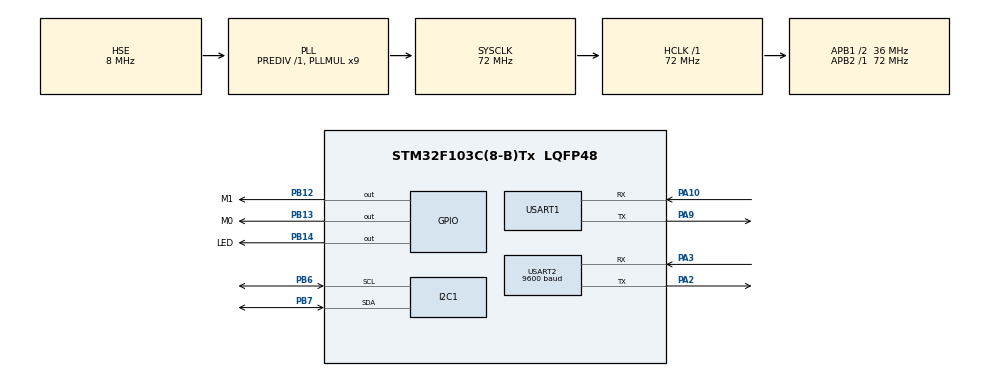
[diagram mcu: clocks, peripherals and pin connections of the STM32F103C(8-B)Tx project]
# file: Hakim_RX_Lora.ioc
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I2C1.I2C_Mode=I2C_Fast
Mcu.Family=STM32F1
Mcu.Name=STM32F103C(8-B)Tx
Mcu.Package=LQFP48
NVIC.PriorityGroup=NVIC_PRIORITYGROUP_4
NVIC.USART2_IRQn=true\:0\:0\:false\:false\:true\:true\:true\:true
PA10.Mode=Asynchronous
PA10.Signal=USART1_RX
PA13.Mode=Serial_Wire
PA13.Signal=SYS_JTMS-SWDIO
PA14.Mode=Serial_Wire
PA14.Signal=SYS_JTCK-SWCLK
PA2.Mode=Asynchronous
PA2.Signal=USART2_TX
PA3.Mode=Asynchronous
PA3.Signal=USART2_RX
PA9.Mode=Asynchronous
PA9.Signal=USART1_TX
PB12.GPIO_Label=M1
PB12.Signal=GPIO_Output
PB13.GPIO_Label=M0
PB13.Signal=GPIO_Output
PB14.GPIO_Label=LED
PB14.Signal=GPIO_Output
PB6.Mode=I2C
PB6.Signal=I2C1_SCL
PB7.Mode=I2C
PB7.Signal=I2C1_SDA
PD0-OSC_IN.Mode=HSE-External-Oscillator
PD0-OSC_IN.Signal=RCC_OSC_IN
PD1-OSC_OUT.Mode=HSE-External-Oscillator
PD1-OSC_OUT.Signal=RCC_OSC_OUT
ProjectManager.HeapSize=0x200
ProjectManager.StackSize=0x400
ProjectManager.TargetToolchain=STM32CubeIDE
RCC.AHBFreq_Value=72000000
RCC.APB1CLKDivider=RCC_HCLK_DIV2
RCC.APB1Freq_Value=36000000
RCC.APB1TimFreq_Value=72000000
RCC.APB2Freq_Value=72000000
RCC.APB2TimFreq_Value=72000000
RCC.HCLKFreq_Value=72000000
RCC.PLLMUL=RCC_PLL_MUL9
RCC.PLLSourceVirtual=RCC_PLLSOURCE_HSE
RCC.SYSCLKFreq_VALUE=72000000
RCC.SYSCLKSource=RCC_SYSCLKSOURCE_PLLCLK
RCC.USBFreq_Value=72000000
USART1.VirtualMode=VM_ASYNC
USART2.BaudRate=9600
USART2.VirtualMode=VM_ASYNC
board=custom

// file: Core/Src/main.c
/* USER CODE BEGIN Header */
/**
  ******************************************************************************
  * @file           : main.c
  * @brief          : Main program body
  ******************************************************************************
  * @attention
  *
  * Copyright (c) 2024 STMicroelectronics.
  * All rights reserved.
  *
  * This software is licensed under terms that can be found in the LICENSE file
  * in the root directory of this software component.
  * If no LICENSE file comes with this software, it is provided AS-IS.
  *
  ******************************************************************************
  */
/* USER CODE END Header */
#include "main.h"

/* USER CODE BEGIN Includes */
#include "fonts.h"
#include "ssd1306.h"
#include "test.h"
#include "string.h"
#include "stdbool.h"
/* USER CODE END Includes */

I2C_HandleTypeDef hi2c1;

UART_HandleTypeDef huart1;
UART_HandleTypeDef huart2;

void SystemClock_Config(void);
static void MX_GPIO_Init(void);
static void MX_I2C1_Init(void);
static void MX_USART1_UART_Init(void);
static void MX_USART2_UART_Init(void);

/* USER CODE BEGIN 0 */
char buffer_rx[100];
uint8_t rx;
volatile uint8_t   adc = 0;
bool flag= false;
uint8_t i= 0;
void Lora_Init(void){
	HAL_Delay(500);
	HAL_GPIO_WritePin(M0_GPIO_Port, M0_Pin,1);
	HAL_GPIO_WritePin(M1_GPIO_Port, M1_Pin,1);
	HAL_GPIO_WritePin(LED_GPIO_Port, LED_Pin,1);
	HAL_Delay(500);
	HAL_GPIO_WritePin(M0_GPIO_Port, M0_Pin,0);
	HAL_GPIO_WritePin(M1_GPIO_Port, M1_Pin,0);
	HAL_GPIO_WritePin(LED_GPIO_Port, LED_Pin,0);
	HAL_Delay(200);

}
/* USER CODE END 0 */

int main(void)
{

  /* MCU Configuration--------------------------------------------------------*/

  /* Reset of all peripherals, Initializes the Flash interface and the Systick. */
  HAL_Init();

  /* Configure the system clock */
  SystemClock_Config();

  /* Initialize all configured peripherals */
  MX_GPIO_Init();
  MX_I2C1_Init();
  MX_USART1_UART_Init();
  MX_USART2_UART_Init();
  /* USER CODE BEGIN 2 */
  HAL_UART_Receive_IT(&huart2,&rx, 1);
  SSD1306_Init();
  Lora_Init();
  /* USER CODE END 2 */

  /* Infinite loop */
  /* USER CODE BEGIN WHILE */
  while (1)
  {

if (flag) {
	 	 	 	SSD1306_GotoXY(0, 10);
			    SSD1306_Puts("Lora : ",&Font_11x18,1);
			    SSD1306_GotoXY(10,40);

			    SSD1306_Puts(buffer_rx,&Font_11x18,1);
			    SSD1306_UpdateScreen();
			    memset(buffer_rx,0,i);
			    i=0;
			    HAL_GPIO_WritePin(LED_GPIO_Port, LED_Pin, 0);
			    flag = false;
}

    /* USER CODE END WHILE */

  }
}

void SystemClock_Config(void)
{
  RCC_OscInitTypeDef RCC_OscInitStruct = {0};
  RCC_ClkInitTypeDef RCC_ClkInitStruct = {0};

  /** Initializes the RCC Oscillators according to the specified parameters
  * in the RCC_OscInitTypeDef structure.
  */
  RCC_OscInitStruct.OscillatorType = RCC_OSCILLATORTYPE_HSE;
  RCC_OscInitStruct.HSEState = RCC_HSE_ON;
  RCC_OscInitStruct.HSEPredivValue = RCC_HSE_PREDIV_DIV1;
  RCC_OscInitStruct.HSIState = RCC_HSI_ON;
  RCC_OscInitStruct.PLL.PLLState = RCC_PLL_ON;
  RCC_OscInitStruct.PLL.PLLSource = RCC_PLLSOURCE_HSE;
  RCC_OscInitStruct.PLL.PLLMUL = RCC_PLL_MUL9;
  if (HAL_RCC_OscConfig(&RCC_OscInitStruct) != HAL_OK)
  {
    Error_Handler();
  }

  /** Initializes the CPU, AHB and APB buses clocks
  */
  RCC_ClkInitStruct.ClockType = RCC_CLOCKTYPE_HCLK|RCC_CLOCKTYPE_SYSCLK
                              |RCC_CLOCKTYPE_PCLK1|RCC_CLOCKTYPE_PCLK2;
  RCC_ClkInitStruct.SYSCLKSource = RCC_SYSCLKSOURCE_PLLCLK;
  RCC_ClkInitStruct.AHBCLKDivider = RCC_SYSCLK_DIV1;
  RCC_ClkInitStruct.APB1CLKDivider = RCC_HCLK_DIV2;
  RCC_ClkInitStruct.APB2CLKDivider = RCC_HCLK_DIV1;

  if (HAL_RCC_ClockConfig(&RCC_ClkInitStruct, FLASH_LATENCY_2) != HAL_OK)
  {
    Error_Handler();
  }
}

static void MX_I2C1_Init(void)
{

  hi2c1.Instance = I2C1;
  hi2c1.Init.ClockSpeed = 400000;
  hi2c1.Init.DutyCycle = I2C_DUTYCYCLE_2;
  hi2c1.Init.OwnAddress1 = 0;
  hi2c1.Init.AddressingMode = I2C_ADDRESSINGMODE_7BIT;
  hi2c1.Init.DualAddressMode = I2C_DUALADDRESS_DISABLE;
  hi2c1.Init.OwnAddress2 = 0;
  hi2c1.Init.GeneralCallMode = I2C_GENERALCALL_DISABLE;
  hi2c1.Init.NoStretchMode = I2C_NOSTRETCH_DISABLE;
  if (HAL_I2C_Init(&hi2c1) != HAL_OK)
  {
    Error_Handler();
  }

}

static void MX_USART1_UART_Init(void)
{

  huart1.Instance = USART1;
  huart1.Init.BaudRate = 115200;
  huart1.Init.WordLength = UART_WORDLENGTH_8B;
  huart1.Init.StopBits = UART_STOPBITS_1;
  huart1.Init.Parity = UART_PARITY_NONE;
  huart1.Init.Mode = UART_MODE_TX_RX;
  huart1.Init.HwFlowCtl = UART_HWCONTROL_NONE;
  huart1.Init.OverSampling = UART_OVERSAMPLING_16;
  if (HAL_UART_Init(&huart1) != HAL_OK)
  {
    Error_Handler();
  }

}

static void MX_USART2_UART_Init(void)
{

  huart2.Instance = USART2;
  huart2.Init.BaudRate = 9600;
  huart2.Init.WordLength = UART_WORDLENGTH_8B;
  huart2.Init.StopBits = UART_STOPBITS_1;
  huart2.Init.Parity = UART_PARITY_NONE;
  huart2.Init.Mode = UART_MODE_TX_RX;
  huart2.Init.HwFlowCtl = UART_HWCONTROL_NONE;
  huart2.Init.OverSampling = UART_OVERSAMPLING_16;
  if (HAL_UART_Init(&huart2) != HAL_OK)
  {
    Error_Handler();
  }

}

static void MX_GPIO_Init(void)
{
  GPIO_InitTypeDef GPIO_InitStruct = {0};

  /* GPIO Ports Clock Enable */
  __HAL_RCC_GPIOD_CLK_ENABLE();
  __HAL_RCC_GPIOA_CLK_ENABLE();
  __HAL_RCC_GPIOB_CLK_ENABLE();

  /*Configure GPIO pin Output Level */
  HAL_GPIO_WritePin(GPIOB, M1_Pin|M0_Pin|LED_Pin, GPIO_PIN_RESET);

  /*Configure GPIO pins : M1_Pin M0_Pin LED_Pin */
  GPIO_InitStruct.Pin = M1_Pin|M0_Pin|LED_Pin;
  GPIO_InitStruct.Mode = GPIO_MODE_OUTPUT_PP;
  GPIO_InitStruct.Pull = GPIO_NOPULL;
  GPIO_InitStruct.Speed = GPIO_SPEED_FREQ_LOW;
  HAL_GPIO_Init(GPIOB, &GPIO_InitStruct);

}

/* USER CODE BEGIN 4 */
void HAL_UART_RxCpltCallback(UART_HandleTypeDef *huart){

	switch (rx) {

		case '*':
			adc = atoi(buffer_rx);

			//i=0;
			HAL_GPIO_WritePin(LED_GPIO_Port, LED_Pin, 1);
			flag = true;
			break;

		default:
			buffer_rx[i] =rx;
				i++;

			break;
	}

	  HAL_UART_Receive_IT(&huart2,&rx, 1);
}
/* USER CODE END 4 */

void Error_Handler(void)
{
  __disable_irq();
  while (1)
  {
  }
}
